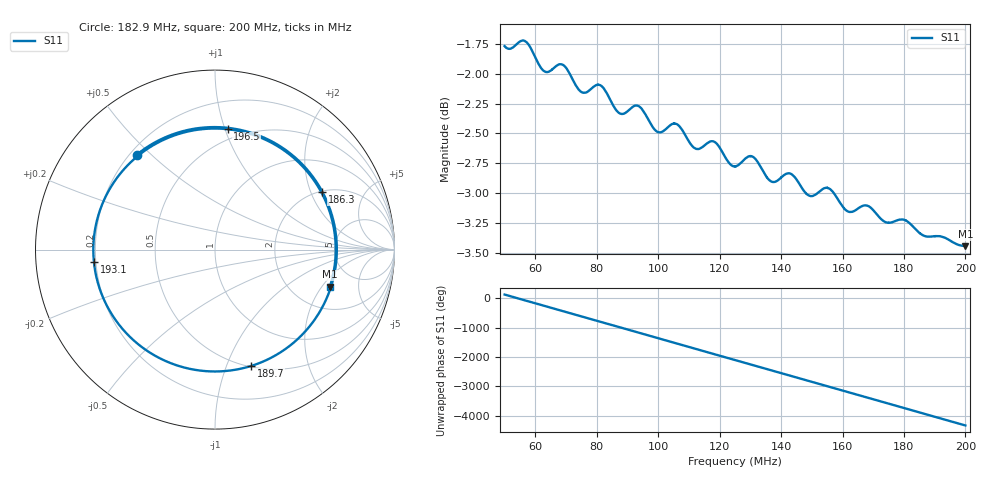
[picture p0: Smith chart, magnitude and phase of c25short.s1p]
! COPPER MOUNTAIN TECHNOLOGIES, PLANAR TR1300/1, 00071119, 20.2.2/1.0
! Date: 12/11/2023 3:16:03 PM
! Data: Format [Calibration Info]
! Freq  S11: Re/Im F1
# HZ S RI R 50
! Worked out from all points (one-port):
!   12288 points, 50 MHz to 200 MHz, reference 50 ohm
!   lowest |S11| = -3.4 dB at 200 MHz (marker M1), VSWR 5.11, Z = 159 - j120 ohm
!   |S11| at or under -10 dB: nowhere
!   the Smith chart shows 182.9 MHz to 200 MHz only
!   S11 on the Smith chart (normalised r, x): 182.9 MHz: 0.23, +0.45; 186.3 MHz: 2.03, +2.43; 189.7 MHz: 0.51, -1.23; 193.1 MHz: 0.19, -0.05; 196.5 MHz: 0.41, +1.02; 200 MHz: 3.18, -2.40
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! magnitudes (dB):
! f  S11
! 50 MHz  -1.8
! 56.71 MHz  -1.7
! 63.33 MHz  -2.0
! 68.75 MHz  -1.9
! 75.06 MHz  -2.2
! 81.62 MHz  -2.1
! 87.5 MHz  -2.3
! 93.57 MHz  -2.3
! 100.2 MHz  -2.5
! 106.3 MHz  -2.4
! 111.7 MHz  -2.6
! 118.2 MHz  -2.6
! 125 MHz  -2.8
! 130.2 MHz  -2.7
! 136.8 MHz  -2.9
! 143.8 MHz  -2.8
! 148.8 MHz  -3.0
! 155.4 MHz  -3.0
! 162.5 MHz  -3.2
! 167.8 MHz  -3.1
! 181.3 MHz  -3.2
! 182.9 MHz  -3.3
! 186.3 MHz  -3.4
! 189.7 MHz  -3.4
! 193.1 MHz  -3.4
! 196.5 MHz  -3.4
! 200 MHz  -3.4
! 200 MHz  -3.4
